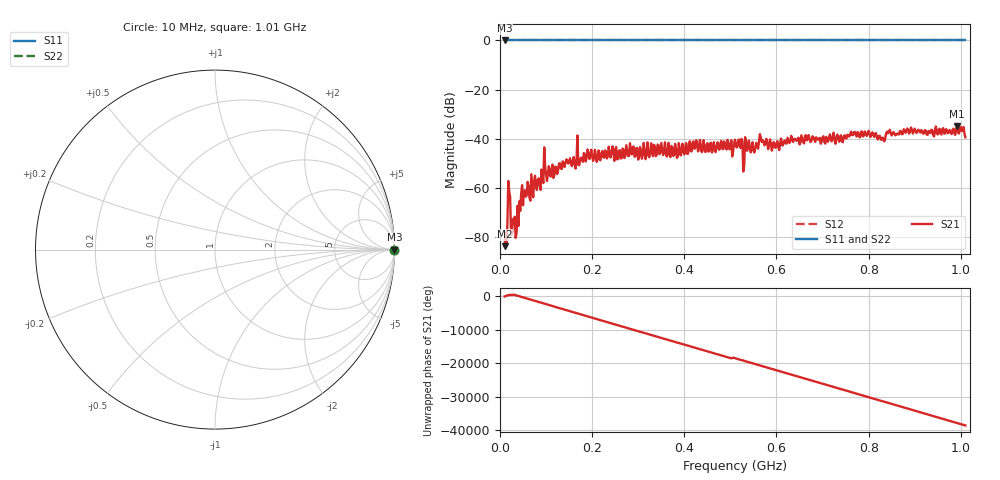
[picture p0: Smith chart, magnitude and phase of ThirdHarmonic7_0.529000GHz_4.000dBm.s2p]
! 8/17/2025 3:43:13 PM
! C:\ANRITSUVNA\TEMP\TEMP.S2P
! CHANNEL.1
! TR.MEASUREMENT
! RAW.DATA
! RF.CORRECTION.OFF
! AVERAGING.OFF
! IF.BANDWIDTH: 5KHZ
! SWEEPTYPE:  FREQ.SWEEP(Linear)
! Reference Plane Port Info
! PORT:  PORT1  PORT2
! DISTANCE:  0  m  0  m
! TIME:  0  s  0  s
! PHASE.OFFSET:  0  deg.  0  deg.
! LOSS:  0  dB  0  dB
! REF.LOSS:  0  dB  0  dB
! REF.FREQ:  0  Hz  0  Hz
! Power Info
! POWER:  -20  dBm  -20  dBm
! EFF.POWER:  -20  dBm  -20  dBm
! SOURCE.ATTEN:  0  dB  0  dB
! TEST.ATTEN:  0  dB  0  dB
# GHZ S RI R 50.0
! FREQ.GHZ  S11RE  S11IM  S21RE  S21IM  S12RE  S12IM  S22RE  S22IM
!; PortSelection: Port_12
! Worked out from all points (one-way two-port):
!   501 points, 10 MHz to 1.01 GHz, reference 50 ohm
!   highest |S21| = -34.94 dB at 992 MHz (marker M1); lowest = -83.7 dB at 10 MHz (marker M2)
!   lowest |S11| = 0.0 dB at 10 MHz (marker M3)
!   |S11| at or under -10 dB: nowhere
!   |S22| runs from 0.0 to 0.0 dB; largest |S21 - S12| = 1
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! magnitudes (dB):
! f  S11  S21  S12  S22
! 10 MHz  0.0  -83.7  0.0  0.0
! 18 MHz  0.0  -57.2  0.0  0.0
! 32 MHz  0.0  -71.7  0.0  0.0
! 50 MHz  0.0  -67.0  0.0  0.0
! 84 MHz  0.0  -56.1  0.0  0.0
! 94 MHz  0.0  -58.0  0.0  0.0
! 106 MHz  0.0  -51.1  0.0  0.0
! 178 MHz  0.0  -48.4  0.0  0.0
! 344 MHz  0.0  -42.7  0.0  0.0
! 510 MHz  0.0  -40.4  0.0  0.0
! 522 MHz  0.0  -43.7  0.0  0.0
! 532 MHz  0.0  -39.3  0.0  0.0
! 536 MHz  0.0  -44.9  0.0  0.0
! 548 MHz  0.0  -41.4  0.0  0.0
! 566 MHz  0.0  -39.4  0.0  0.0
! 594 MHz  0.0  -41.3  0.0  0.0
! 678 MHz  0.0  -39.0  0.0  0.0
! 796 MHz  0.0  -38.9  0.0  0.0
! 832 MHz  0.0  -40.0  0.0  0.0
! 844 MHz  0.0  -37.2  0.0  0.0
! 992 MHz  0.0  -34.9  0.0  0.0
! 1.01 GHz  0.0  -39.4  0.0  0.0
